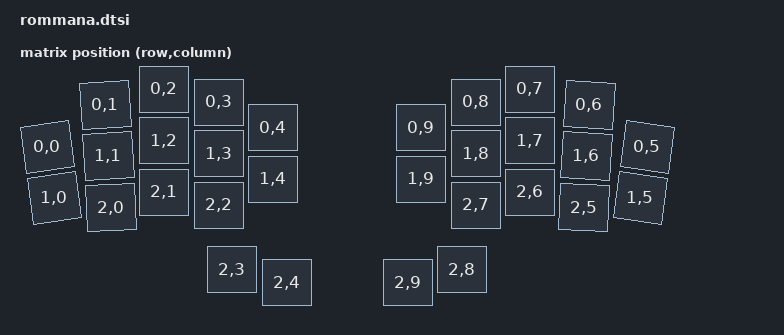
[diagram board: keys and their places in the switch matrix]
#include <dt-bindings/zmk/matrix_transform.h>
#include <physical_layouts.dtsi>

/ {
    physical_layout: physical_layout {
        compatible = "zmk,physical-layout";
        display-name = "Default Layout";
        input = <&kscan>;
        transform = <&default_transform>;
        keys  //                     w   h    x    y     rot    rx    ry
            = <&key_physical_attrs 106 100    0  116  (-800)    53   166>
            , <&key_physical_attrs 106 100  116   32  (-300)   169    82>
            , <&key_physical_attrs 106 100  234    0       0     0     0>
            , <&key_physical_attrs 106 100  343   26       0     0     0>
            , <&key_physical_attrs 106 100  452   77       0     0     0>
            , <&key_physical_attrs 106 100  748   77       0     0     0>
            , <&key_physical_attrs 106 100  857   26       0     0     0>
            , <&key_physical_attrs 106 100  966    0       0     0     0>
            , <&key_physical_attrs 106 100 1084   32     300  1137    82>
            , <&key_physical_attrs 106 100 1200  116     800  1253   166>
            , <&key_physical_attrs 106 100   14  218  (-800)    67   268>
            , <&key_physical_attrs 106 100  122  134  (-300)   174   184>
            , <&key_physical_attrs 106 100  234  103       0     0     0>
            , <&key_physical_attrs 106 100  343  129       0     0     0>
            , <&key_physical_attrs 106 100  452  180       0     0     0>
            , <&key_physical_attrs 106 100  748  180       0     0     0>
            , <&key_physical_attrs 106 100  857  129       0     0     0>
            , <&key_physical_attrs 106 100  966  103       0     0     0>
            , <&key_physical_attrs 106 100 1078  134     300  1132   184>
            , <&key_physical_attrs 106 100 1186  218     800  1239   268>
            , <&key_physical_attrs 106 100  127  237  (-300)   180   287>
            , <&key_physical_attrs 106 100  234  206       0     0     0>
            , <&key_physical_attrs 106 100  343  232       0     0     0>
            , <&key_physical_attrs 106 100  857  232       0     0     0>
            , <&key_physical_attrs 106 100  966  206       0     0     0>
            , <&key_physical_attrs 106 100 1073  237     300  1126   287>
            , <&key_physical_attrs 106 100  370  361       0     0     0>
            , <&key_physical_attrs 106 100  479  387       0     0     0>
            , <&key_physical_attrs 106 100  721  387       0     0     0>
            , <&key_physical_attrs 106 100  830  361       0     0     0>
            ;
    };

    chosen {
        zmk,physical-layout = &physical_layout;
    };

    default_transform: keymap_transform {
        compatible = "zmk,matrix-transform";
        columns = <10>;
        rows = <4>;
        map = <
RC(0,0) RC(0,1) RC(0,2) RC(0,3) RC(0,4)   RC(0,9) RC(0,8) RC(0,7) RC(0,6) RC(0,5)
RC(1,0) RC(1,1) RC(1,2) RC(1,3) RC(1,4)   RC(1,9) RC(1,8) RC(1,7) RC(1,6) RC(1,5)
        RC(2,0) RC(2,1) RC(2,2)                   RC(2,7) RC(2,6) RC(2,5)
                        RC(2,3) RC(2,4)   RC(2,9) RC(2,8)
        >;
    };

    kscan: kscan {
        compatible = "gpio-kbd-matrix";
        col-drive-inactive;
        settle-time-us = <0>;
        no-ghostkey-check;
        wakeup-source;
    };

    bootloader_key_left: bootloader_key_left {
        compatible = "zmk,boot-magic-key";
        key-position = <0>;
        jump-to-bootloader;
        status = "disabled";
    };
    bootloader_key_right: bootloader_key_right {
        compatible = "zmk,boot-magic-key";
        key-position = <9>;
        jump-to-bootloader;
        status = "disabled";
    };
};
